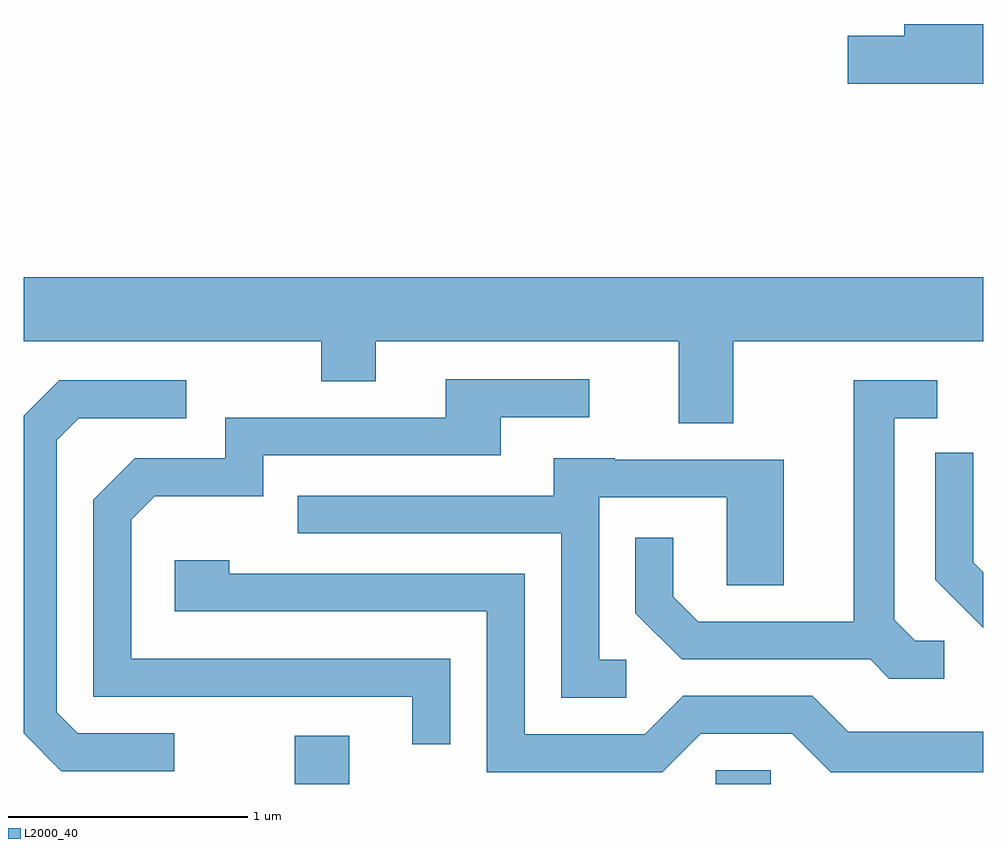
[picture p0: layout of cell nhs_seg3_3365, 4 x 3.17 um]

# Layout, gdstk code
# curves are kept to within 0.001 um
import gdstk
lib = gdstk.Library(unit=1e-6, precision=1e-09)
def R(c, l, rs):  # rectangles x0, y0, x1, y1
    for r in rs: c.add(gdstk.rectangle(r[:2], r[2:], *l))
def P(c, l, *ps):  # polygons
    for p in ps: c.add(gdstk.Polygon(p, *l))
L2000_40 = (2000, 40)

nhs_seg3_3365 = lib.new_cell('nhs_seg3_3365')
R(nhs_seg3_3365, L2000_40, [(284.741,1181.892,284.969,1182.094), (286.496,1181.892,286.724,1181.949)])
P(nhs_seg3_3365, L2000_40, [(287.611,1185.059),(287.281,1185.059),(287.281,1185.009),(287.046,1185.009),(287.046,1184.811),(287.611,1184.811)],
  [(286.569,1183.736),(287.611,1183.736),(287.611,1184.004),(283.611,1184.004),(283.611,1183.736),(284.851,1183.736),(284.851,1183.571),(285.079,1183.571),(285.079,1183.736),(286.341,1183.736),(286.341,1183.396),(286.569,1183.396)],
  [(285.389,1182.414),(284.059,1182.414),(284.059,1182.994),(284.157,1183.091),(284.609,1183.091),(284.609,1183.261),(285.599,1183.261),(285.599,1183.421),(285.968,1183.421),(285.968,1183.579),(285.371,1183.579),(285.371,1183.419),(284.451,1183.419),(284.451,1183.249),(284.074,1183.249),(283.901,1183.077),(283.901,1182.256),(285.231,1182.256),(285.231,1182.058),(285.389,1182.058)],
  [(287.448,1182.489),(287.327,1182.489),(287.239,1182.577),(287.239,1183.416),(287.418,1183.416),(287.418,1183.574),(287.071,1183.574),(287.071,1182.569),(286.422,1182.569),(286.319,1182.672),(286.319,1182.918),(286.161,1182.918),(286.161,1182.604),(286.354,1182.411),(287.139,1182.411),(287.219,1182.331),(287.448,1182.331)],
  [(284.238,1182.104),(283.837,1182.104),(283.749,1182.192),(283.749,1183.324),(283.842,1183.416),(284.288,1183.416),(284.288,1183.574),(283.759,1183.574),(283.611,1183.427),(283.611,1182.104),(283.769,1181.946),(284.238,1181.946)],
  [(287.611,1182.775),(287.569,1182.817),(287.569,1183.273),(287.411,1183.273),(287.411,1182.744),(287.611,1182.544)],
  [(286.123,1182.409),(286.009,1182.409),(286.009,1183.086),(286.541,1183.086),(286.541,1182.721),(286.779,1182.721),(286.779,1183.244),(286.075,1183.244),(286.075,1183.249),(285.821,1183.249),(285.821,1183.094),(284.753,1183.094),(284.753,1182.936),(285.851,1182.936),(285.851,1182.251),(286.123,1182.251)],
  [(286.432,1182.101),(286.814,1182.101),(286.974,1181.941),(287.611,1181.941),(287.611,1182.109),(287.047,1182.109),(286.897,1182.259),(286.359,1182.259),(286.199,1182.099),(285.699,1182.099),(285.699,1182.769),(284.469,1182.769),(284.469,1182.824),(284.241,1182.824),(284.241,1182.611),(285.541,1182.611),(285.541,1181.941),(286.272,1181.941)])

lib.write_gds('nhs_seg3_3365.gds')
